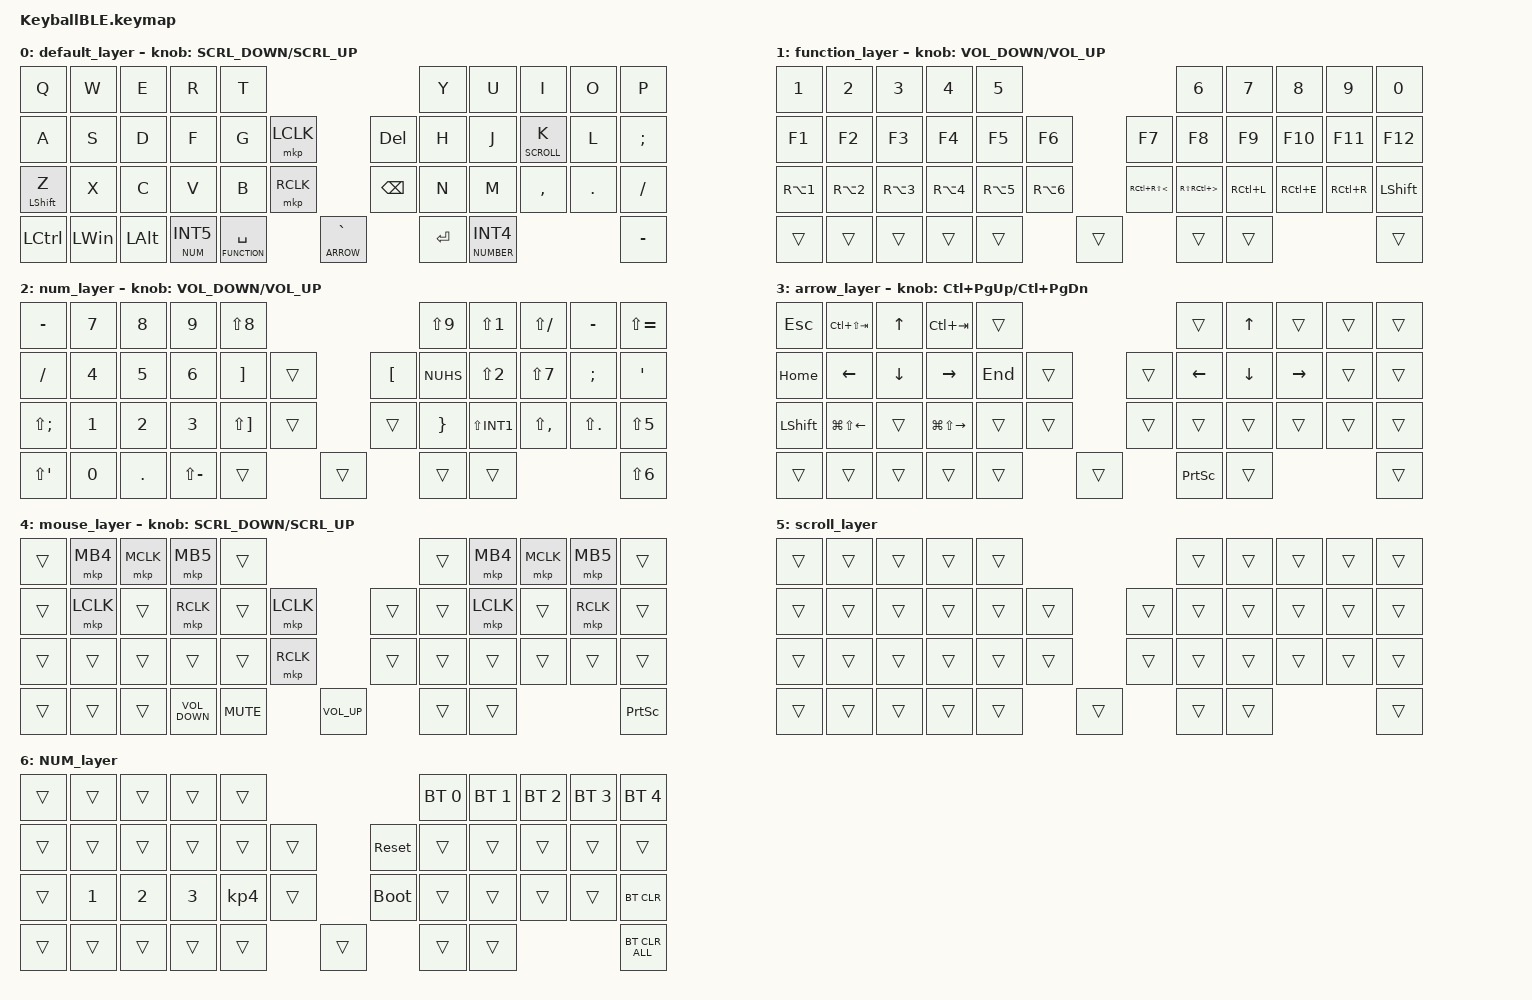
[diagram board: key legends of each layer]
#define ZMK_POINTING_DEFAULT_SCRL_VAL 120    // default: 10

#include <behaviors.dtsi>
#include <dt-bindings/zmk/bt.h>
#include <dt-bindings/zmk/keys.h>
#include <dt-bindings/zmk/pointing.h>
#include <dt-bindings/zmk/outputs.h>
#include <dt-bindings/zmk/mouse.h>
#include <dt-bindings/zmk/ext_power.h>
#include <input/processors.dtsi>

#define DEFAULT 0
#define FUNCTION 1
#define NUMBER 2
#define ARROW 3
#define MOUSE 4
#define SCROLL 5
#define NUM 6

/ {
    mkp {
        compatible = "zmk,mouse-behavior";
        label = "MOUSE_KEYS";
        #binding-cells = <1>;
        default-bindings = <&kp>;
        sensitivity = <1>;
        acceleration = <1>;
        wheel-acceleration = <2>;
        slow-acceleration = <1>;
    };
    macros {
        to_layer_0: to_layer_0 {
            compatible = "zmk,behavior-macro-one-param";
            #binding-cells = <1>;
            bindings = <&to 0 &macro_param_1to1 &kp MACRO_PLACEHOLDER>;
            label = "TO_LAYER_0";
        };
    };

    behaviors {
        mt: mod_tap {
            compatible = "zmk,behavior-hold-tap";
            label = "MOD_TAP";
            #binding-cells = <2>;
            flavor = "balanced";
            tapping-term-ms = <200>;
            quick-tap-ms = <0>;
            bindings = <&kp>, <&kp>;
        };

        lt_to_layer_0: lt_to_layer_0 {
            compatible = "zmk,behavior-hold-tap";
            label = "LAYER_TAP_TO_0";
            bindings = <&mo>, <&to_layer_0>;
            #binding-cells = <2>;
            tapping-term-ms = <200>;
        };

        ROTATE: ROTATE {
            compatible = "zmk,behavior-sensor-rotate-var";
            label = "ROTATE";
            #sensor-binding-cells = <2>;
            bindings = <&mmv>, <&msc>;
            tap-ms = <20>;
        };
    };

    combos {
        compatible = "zmk,combos";

        LCLK {
            bindings = <&kp DOUBLE_QUOTES>;
            key-positions = <18>;
        };

        RCLK {
            bindings = <&none>;
            key-positions = <20>;
        };

        MCLK {
            bindings = <&none>;
            key-positions = <7>;
        };

        MB4 {
            bindings = <&none>;
            key-positions = <6>;
        };

        MB5 {
            bindings = <&none>;
            key-positions = <8>;
        };
    };

    keymap {
        compatible = "zmk,keymap";

        default_layer {
            bindings = <
&kp Q             &kp W         &kp E         &kp R                  &kp T                                                   &kp Y       &kp U  &kp I      &kp O    &kp P
&kp A             &kp S         &kp D         &kp F                  &kp G        &mkp LCLK                   &kp DELETE     &kp H       &kp J  &lt SCROLL K    &kp L    &kp SEMI
&mt LEFT_SHIFT Z  &kp X         &kp C         &kp V                  &kp B        &mkp RCLK                   &kp BACKSPACE  &kp N       &kp M  &kp COMMA  &kp DOT  &kp SLASH
&kp LCTRL         &kp LEFT_WIN  &kp LEFT_ALT  &lt_to_layer_0 NUM INT5  &lt FUNCTION SPACE  &lt_to_layer_0 ARROW GRAVE  &kp ENTER  &lt NUMBER INT4                         &kp MINUS
            >;

            sensor-bindings = <&ROTATE SCRL_DOWN SCRL_UP>;
        };

        function_layer {
            bindings = <
&kp N1      &kp N2      &kp N3      &kp N4      &kp N5                                             &kp N6                    &kp N7     &kp N8     &kp N9     &kp N0
&kp F1      &kp F2      &kp F3      &kp F4      &kp F5      &kp F6          &kp F7                 &kp F8                    &kp F9     &kp F10    &kp F11    &kp F12
&kp RA(N1)  &kp RA(N2)  &kp RA(N3)  &kp RA(N4)  &kp RA(N5)  &kp RA(N6)      &kp RC(RS(LESS_THAN))  &kp RS(RC(GREATER_THAN))  &kp RC(L)  &kp RC(E)  &kp RC(R)  &kp LSHFT
&trans      &trans      &trans      &trans      &trans      &trans          &trans                 &trans                                                     &trans
            >;

            sensor-bindings = <&inc_dec_kp C_VOLUME_DOWN C_VOLUME_UP>;
        };

        num_layer {
            bindings = <
&kp MINUS     &kp N7  &kp N8   &kp N9         &kp LS(N8)                          &kp LS(N9)  &kp LS(N1)    &kp LS(SLASH)  &kp MINUS    &kp LS(EQUAL)
&kp SLASH     &kp N4  &kp N5   &kp N6         &kp RBKT      &trans      &kp LBKT  &kp NUHS    &kp LS(N2)    &kp LS(N7)     &kp SEMI     &kp SQT
&kp LS(SEMI)  &kp N1  &kp N2   &kp N3         &kp LS(RBKT)  &trans      &trans    &kp RBRC    &kp LS(INT1)  &kp LS(COMMA)  &kp LS(DOT)  &kp LS(N5)
&kp LS(SQT)   &kp N0  &kp DOT  &kp LS(MINUS)  &trans        &trans      &trans    &trans                                                &kp LS(N6)
            >;

            sensor-bindings = <&inc_dec_kp C_VOLUME_DOWN C_VOLUME_UP>;
        };

        arrow_layer {
            bindings = <
&kp ESCAPE      &kp LC(LS(TAB))         &kp UP_ARROW    &kp LC(TAB)              &trans                          &trans          &kp UP_ARROW    &trans           &trans  &trans
&kp HOME        &kp LEFT_ARROW          &kp DOWN_ARROW  &kp RIGHT_ARROW          &kp END  &trans      &trans     &kp LEFT_ARROW  &kp DOWN_ARROW  &kp RIGHT_ARROW  &trans  &trans
&kp LEFT_SHIFT  &kp LG(LS(LEFT_ARROW))  &trans          &kp LG(LS(RIGHT_ARROW))  &trans   &trans      &trans     &trans          &trans          &trans           &trans  &trans
&trans          &trans                  &trans          &trans                   &trans   &trans      &kp PSCRN  &trans                                                   &trans
            >;

            sensor-bindings = <&inc_dec_kp LC(PAGE_UP) LC(PAGE_DOWN)>;
        };

        mouse_layer {
            bindings = <
&trans  &mkp MB4   &mkp MCLK  &mkp MB5           &trans                                   &trans  &mkp MB4   &mkp MCLK  &mkp MB5   &trans
&trans  &mkp LCLK  &trans     &mkp RCLK          &trans      &mkp LCLK            &trans  &trans  &mkp LCLK  &trans     &mkp RCLK  &trans
&trans  &trans     &trans     &trans             &trans      &mkp RCLK            &trans  &trans  &trans     &trans     &trans     &trans
&trans  &trans     &trans     &kp C_VOLUME_DOWN  &kp C_MUTE  &kp C_VOLUME_UP      &trans  &trans                                   &kp PSCRN
            >;

            sensor-bindings = <&ROTATE SCRL_DOWN SCRL_UP>;
        };

        scroll_layer {
            bindings = <
&trans  &trans  &trans  &trans  &trans                      &trans  &trans  &trans  &trans  &trans
&trans  &trans  &trans  &trans  &trans  &trans      &trans  &trans  &trans  &trans  &trans  &trans
&trans  &trans  &trans  &trans  &trans  &trans      &trans  &trans  &trans  &trans  &trans  &trans
&trans  &trans  &trans  &trans  &trans  &trans      &trans  &trans                          &trans
            >;
        };

        NUM_layer {
            bindings = <
&trans  &trans        &trans        &trans        &trans                                 &bt BT_SEL 0  &bt BT_SEL 1  &bt BT_SEL 2  &bt BT_SEL 3  &bt BT_SEL 4
&trans  &trans        &trans        &trans        &trans     &trans      &sys_reset     &trans        &trans        &trans        &trans        &trans
&trans  &kp NUMBER_1  &kp NUMBER_2  &kp NUMBER_3  &kp KP_N4  &trans      &bootloader     &trans        &trans        &trans        &trans        &bt BT_CLR
&trans  &trans        &trans        &trans        &trans     &trans      &trans          &trans                                                  &bt BT_CLR_ALL
            >;
        };
    };
};
